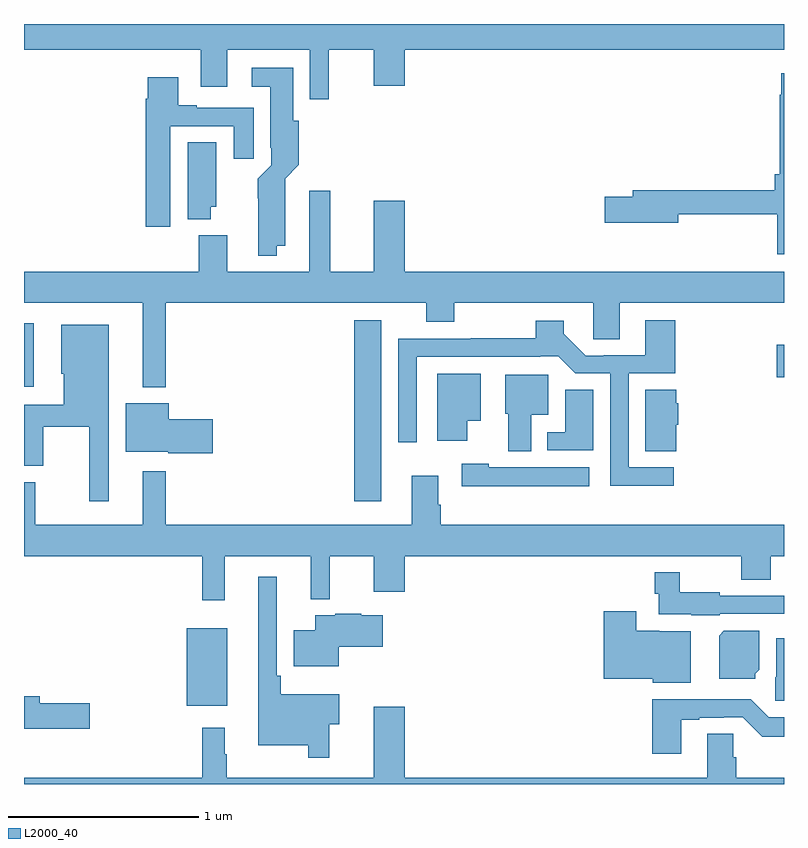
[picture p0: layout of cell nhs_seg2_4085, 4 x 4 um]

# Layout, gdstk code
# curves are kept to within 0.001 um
import gdstk
lib = gdstk.Library(unit=1e-6, precision=1e-09)
def R(c, l, rs):  # rectangles x0, y0, x1, y1
    for r in rs: c.add(gdstk.rectangle(r[:2], r[2:], *l))
def P(c, l, *ps):  # polygons
    for p in ps: c.add(gdstk.Polygon(p, *l))
L2000_40 = (2000, 40)

nhs_seg2_4085 = lib.new_cell('nhs_seg2_4085')
R(nhs_seg2_4085, L2000_40, [(331.856,616.211,332.071,616.621), (332.738,617.289,332.881,618.241), (331,617.891,331.05,618.226), (334.962,617.942,335,618.112)])
P(nhs_seg2_4085, L2000_40, [(335,619.8),(331,619.8),(331,619.664),(331.931,619.664),(331.931,619.47),(332.071,619.47),(332.071,619.664),(332.505,619.664),(332.505,619.404),(332.604,619.404),(332.604,619.664),(332.84,619.664),(332.84,619.476),(333.004,619.476),(333.004,619.664),(335,619.664)],
  [(332.329,618.632),(332.374,618.632),(332.375,618.986),(332.447,619.058),(332.447,619.29),(332.416,619.29),(332.416,619.57),(332.199,619.57),(332.199,619.469),(332.297,619.469),(332.297,619.15),(332.301,619.15),(332.301,619.056),(332.231,618.986),(332.232,618.581),(332.329,618.581)],
  [(335,619.54),(334.986,619.54),(334.986,619.427),(334.978,619.427),(334.978,619.009),(334.952,619.009),(334.952,618.926),(334.205,618.926),(334.205,618.89),(334.056,618.89),(334.056,618.755),(334.444,618.755),(334.444,618.798),(334.964,618.798),(334.964,618.587),(335,618.587)],
  [(331.771,619.263),(332.105,619.263),(332.105,619.092),(332.209,619.092),(332.209,619.359),(331.909,619.359),(331.909,619.372),(331.813,619.372),(331.813,619.519),(331.652,619.519),(331.652,619.406),(331.64,619.406),(331.64,618.732),(331.771,618.732)],
  [(331.984,618.837),(332.011,618.837),(332.011,619.178),(331.862,619.178),(331.862,618.773),(331.984,618.773)],
  [(331.747,618.332),(333.116,618.332),(333.116,618.233),(333.264,618.233),(333.264,618.332),(333.996,618.332),(333.996,618.142),(334.135,618.142),(334.135,618.332),(335,618.332),(335,618.496),(333.004,618.496),(333.004,618.871),(332.84,618.871),(332.84,618.496),(332.611,618.496),(332.611,618.922),(332.501,618.922),(332.501,618.496),(332.071,618.496),(332.071,618.688),(331.919,618.688),(331.919,618.496),(331,618.496),(331,618.332),(331.625,618.332),(331.625,617.888),(331.747,617.888)],
  [(334.42,617.466),(334.182,617.466),(334.182,617.961),(334.427,617.961),(334.427,618.241),(334.271,618.241),(334.271,618.057),(334.051,618.057),(334.051,618.054),(333.957,618.054),(333.841,618.17),(333.841,618.238),(333.694,618.238),(333.694,618.146),(333.352,618.146),(333.352,618.144),(332.97,618.144),(332.97,617.598),(333.066,617.598),(333.066,618.048),(333.716,618.048),(333.716,618.051),(333.812,618.051),(333.902,617.961),(334.086,617.961),(334.086,617.369),(334.42,617.369)],
  [(331.447,618.217),(331.196,618.217),(331.196,617.958),(331.208,617.958),(331.208,617.797),(331,617.797),(331,617.474),(331.102,617.474),(331.102,617.68),(331.343,617.68),(331.343,617.289),(331.447,617.289)],
  [(333.334,617.711),(333.403,617.711),(333.403,617.959),(333.176,617.959),(333.176,617.607),(333.334,617.607)],
  [(333.67,617.744),(333.76,617.744),(333.76,617.953),(333.533,617.953),(333.533,617.748),(333.548,617.748),(333.548,617.552),(333.67,617.552)],
  [(333.997,617.876),(333.848,617.876),(333.848,617.652),(333.755,617.652),(333.755,617.556),(333.997,617.556)],
  [(334.432,617.691),(334.444,617.691),(334.444,617.805),(334.432,617.805),(334.432,617.876),(334.271,617.876),(334.271,617.551),(334.432,617.551)],
  [(331.993,617.72),(331.762,617.72),(331.762,617.803),(331.535,617.803),(331.535,617.549),(331.758,617.549),(331.758,617.542),(331.993,617.542)],
  [(333.976,617.467),(333.447,617.467),(333.447,617.485),(333.303,617.485),(333.303,617.366),(333.976,617.366)],
  [(332.057,617),(332.51,617),(332.51,616.772),(332.61,616.772),(332.61,617),(332.84,617),(332.84,616.812),(333.004,616.812),(333.004,617),(334.774,617),(334.774,616.876),(334.929,616.876),(334.929,617),(335,617),(335,617.164),(333.194,617.164),(333.194,617.27),(333.181,617.27),(333.181,617.422),(333.041,617.422),(333.041,617.164),(331.747,617.164),(331.747,617.446),(331.625,617.446),(331.625,617.164),(331.058,617.164),(331.058,617.389),(331,617.389),(331,617),(331.939,617),(331.939,616.767),(332.057,616.767)],
  [(334.662,616.695),(335,616.695),(335,616.791),(334.662,616.791),(334.662,616.81),(334.45,616.81),(334.45,616.915),(334.321,616.915),(334.321,616.802),(334.341,616.802),(334.341,616.694),(334.512,616.694),(334.512,616.688),(334.662,616.688)],
  [(332.607,616.115),(332.659,616.115),(332.659,616.273),(332.351,616.273),(332.351,616.369),(332.331,616.369),(332.331,616.891),(332.234,616.891),(332.234,616.004),(332.496,616.004),(332.496,615.939),(332.607,615.939)],
  [(334.51,616.604),(334.344,616.604),(334.344,616.606),(334.222,616.606),(334.222,616.708),(334.052,616.708),(334.052,616.355),(334.308,616.355),(334.308,616.334),(334.51,616.334)],
  [(332.656,616.522),(332.887,616.522),(332.887,616.687),(332.774,616.687),(332.774,616.695),(332.638,616.695),(332.638,616.687),(332.534,616.687),(332.534,616.609),(332.42,616.609),(332.42,616.421),(332.656,616.421)],
  [(334.848,616.38),(334.87,616.402),(334.87,616.606),(334.684,616.606),(334.658,616.58),(334.658,616.355),(334.848,616.355)],
  [(335,616.567),(334.958,616.567),(334.958,616.362),(334.954,616.362),(334.954,616.239),(335,616.239)],
  [(331.345,616.226),(331.084,616.226),(331.084,616.262),(331,616.262),(331,616.091),(331.345,616.091)],
  [(334.459,616.137),(334.555,616.137),(334.555,616.149),(334.682,616.149),(334.682,616.152),(334.782,616.152),(334.885,616.05),(335,616.05),(335,616.152),(334.92,616.152),(334.826,616.246),(334.307,616.246),(334.307,615.96),(334.459,615.96)],
  [(335,615.832),(334.748,615.832),(334.748,615.942),(334.734,615.942),(334.734,616.064),(334.595,616.064),(334.595,615.832),(333.004,615.832),(333.004,616.207),(332.84,616.207),(332.84,615.832),(332.068,615.832),(332.068,615.956),(332.056,615.956),(332.056,616.096),(331.939,616.096),(331.939,615.832),(331,615.832),(331,615.8),(335,615.8)])

lib.write_gds('nhs_seg2_4085.gds')
